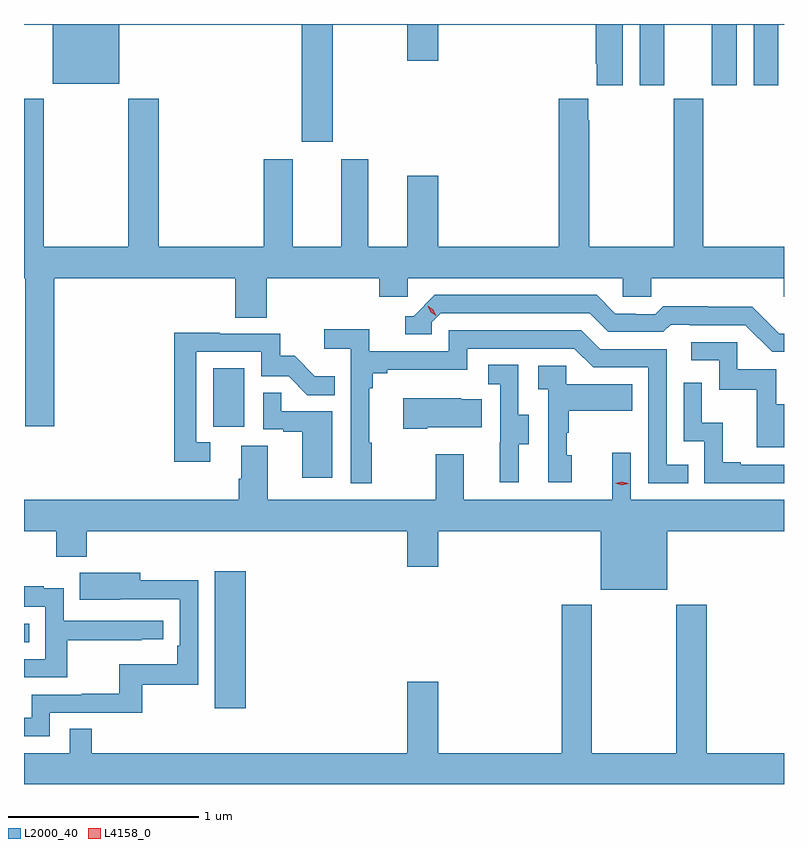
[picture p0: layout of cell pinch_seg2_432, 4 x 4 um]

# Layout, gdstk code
import gdstk
lib = gdstk.Library(unit=1e-6, precision=1e-09)
def R(c, l, rs):  # rectangles x0, y0, x1, y1
    for r in rs: c.add(gdstk.rectangle(r[:2], r[2:], *l))
def P(c, l, *ps):  # polygons
    for p in ps: c.add(gdstk.Polygon(p, *l))
L2000_40 = (2000, 40)
L4158_0 = (4158, 0)

pinch_seg2_432 = lib.new_cell('pinch_seg2_432')
R(pinch_seg2_432, L2000_40, [(907.253,613.404,907.414,614.125), (906.248,613.752,906.275,613.848), (907.244,614.886,907.408,615.193)])
P(pinch_seg2_432, L2000_40, [(907.873,617),(908.264,617),(908.264,616.812),(908.428,616.812),(908.428,617),(909.257,617),(909.257,616.795),(909.263,616.795),(909.263,616.683),(909.4,616.683),(909.4,617),(909.488,617),(909.488,616.683),(909.619,616.683),(909.619,617),(909.869,617),(909.869,616.683),(910,616.683),(910,617),(910.088,617),(910.088,616.683),(910.219,616.683),(910.219,617),(910.248,617),(910.248,617.005),(906.248,617.005),(906.248,617),(906.398,617),(906.398,616.691),(906.748,616.691),(906.748,617),(907.709,617),(907.709,616.386),(907.873,616.386)],
  [(906.407,615.668),(907.361,615.668),(907.361,615.46),(907.526,615.46),(907.526,615.668),(908.117,615.668),(908.117,615.57),(908.268,615.57),(908.268,615.668),(909.399,615.668),(909.399,615.57),(909.549,615.57),(909.549,615.668),(910.247,615.668),(910.247,615.57),(910.248,615.57),(910.248,615.832),(909.822,615.832),(909.822,616.612),(909.667,616.612),(909.667,615.832),(909.222,615.832),(909.222,616.499),(909.217,616.499),(909.217,616.612),(909.062,616.612),(909.062,615.832),(908.428,615.832),(908.428,616.207),(908.264,616.207),(908.264,615.832),(908.059,615.832),(908.059,616.294),(907.919,616.294),(907.919,615.832),(907.663,615.832),(907.663,616.294),(907.511,616.294),(907.511,615.832),(906.956,615.832),(906.956,616.612),(906.796,616.612),(906.796,615.832),(906.351,615.832),(906.351,616.612),(906.248,616.612),(906.248,615.668),(906.254,615.668),(906.254,614.889),(906.407,614.889)],
  [(910.248,615.375),(910.224,615.375),(910.082,615.517),(909.846,615.517),(909.846,615.52),(909.613,615.52),(909.571,615.477),(909.468,615.477),(909.468,615.48),(909.361,615.48),(909.262,615.579),(908.409,615.579),(908.298,615.468),(908.255,615.468),(908.255,615.372),(908.394,615.372),(908.394,615.435),(908.442,615.483),(909.225,615.483),(909.324,615.384),(909.613,615.384),(909.652,615.423),(909.751,615.423),(909.751,615.42),(910.044,615.42),(910.185,615.279),(910.248,615.279)],
  [(908.077,614.801),(908.065,614.801),(908.065,615.089),(908.084,615.089),(908.084,615.166),(908.161,615.166),(908.161,615.185),(908.58,615.185),(908.58,615.297),(909.144,615.297),(909.243,615.198),(909.534,615.198),(909.534,614.589),(909.743,614.589),(909.743,614.685),(909.63,614.685),(909.63,615.294),(909.28,615.294),(909.181,615.393),(908.484,615.393),(908.484,615.282),(908.066,615.282),(908.066,615.398),(907.827,615.398),(907.827,615.296),(907.968,615.296),(907.968,614.589),(908.077,614.589)],
  [(907.228,614.805),(907.155,614.805),(907.155,615.279),(907.497,615.279),(907.497,615.15),(907.641,615.15),(907.739,615.052),(907.883,615.052),(907.883,615.151),(907.779,615.151),(907.672,615.258),(907.596,615.258),(907.596,615.375),(907.277,615.375),(907.277,615.38),(907.039,615.38),(907.039,614.7),(907.228,614.7)],
  [(910.248,615.003),(910.207,615.003),(910.207,615.189),(910.002,615.189),(910.002,615.33),(909.759,615.33),(909.759,615.234),(909.906,615.234),(909.906,615.081),(910.105,615.081),(910.105,614.778),(910.248,614.778)],
  [(908.851,614.794),(908.905,614.794),(908.905,614.949),(908.85,614.949),(908.85,615.212),(908.691,615.212),(908.691,615.109),(908.754,615.109),(908.754,614.805),(908.753,614.805),(908.753,614.592),(908.851,614.592)],
  [(909.13,614.736),(909.105,614.736),(909.105,614.855),(909.115,614.855),(909.115,614.969),(909.449,614.969),(909.449,615.109),(909.102,615.109),(909.102,615.207),(908.955,615.207),(908.955,615.083),(909.006,615.083),(909.006,614.592),(909.13,614.592)],
  [(910.248,614.685),(910.021,614.685),(910.021,614.698),(909.926,614.698),(909.926,614.906),(909.816,614.906),(909.816,615.118),(909.72,615.118),(909.72,614.808),(909.828,614.808),(909.828,614.589),(910.248,614.589)],
  [(907.87,614.967),(907.601,614.967),(907.601,615.065),(907.506,615.065),(907.506,614.871),(907.613,614.871),(907.613,614.859),(907.712,614.859),(907.712,614.616),(907.87,614.616)],
  [(908.371,614.882),(908.657,614.882),(908.657,615.031),(908.549,615.031),(908.549,615.034),(908.243,615.034),(908.243,614.875),(908.371,614.875)],
  [(909.634,614.336),(910.248,614.336),(910.248,614.5),(909.441,614.5),(909.441,614.749),(909.344,614.749),(909.344,614.5),(908.563,614.5),(908.563,614.74),(908.416,614.74),(908.416,614.5),(907.531,614.5),(907.531,614.786),(907.391,614.786),(907.391,614.612),(907.379,614.612),(907.379,614.5),(906.248,614.5),(906.248,614.336),(906.418,614.336),(906.418,614.201),(906.578,614.201),(906.578,614.336),(908.264,614.336),(908.264,614.148),(908.428,614.148),(908.428,614.336),(909.284,614.336),(909.284,614.027),(909.634,614.027)],
  [(906.384,613.38),(906.871,613.38),(906.871,613.527),(907.164,613.527),(907.164,614.078),(906.859,614.078),(906.859,614.116),(906.541,614.116),(906.541,613.976),(906.755,613.976),(906.755,613.977),(907.068,613.977),(907.068,613.732),(907.055,613.732),(907.055,613.636),(906.75,613.636),(906.75,613.481),(906.553,613.481),(906.553,613.476),(906.288,613.476),(906.288,613.353),(906.248,613.353),(906.248,613.257),(906.384,613.257)],
  [(906.476,613.762),(906.869,613.762),(906.869,613.767),(906.982,613.767),(906.982,613.863),(906.456,613.863),(906.456,614.035),(906.353,614.035),(906.353,614.047),(906.248,614.047),(906.248,613.938),(906.36,613.938),(906.36,613.662),(906.248,613.662),(906.248,613.566),(906.476,613.566)],
  [(910.248,613.168),(909.842,613.168),(909.842,613.948),(909.682,613.948),(909.682,613.168),(909.237,613.168),(909.237,613.948),(909.077,613.948),(909.077,613.168),(908.428,613.168),(908.428,613.543),(908.264,613.543),(908.264,613.168),(906.605,613.168),(906.605,613.295),(906.489,613.295),(906.489,613.168),(906.248,613.168),(906.248,613.005),(910.248,613.005)])
P(pinch_seg2_432, L4158_0, [(909.394,614.577),(909.36,614.587),(909.359,614.587),(909.36,614.587),(909.394,614.597),(909.429,614.587),(909.429,614.586),(909.429,614.586)],
  [(908.418,615.47),(908.388,615.489),(908.372,615.522),(908.372,615.522),(908.372,615.522),(908.402,615.502),(908.418,615.47),(908.418,615.47)])

lib.write_gds('pinch_seg2_432.gds')
